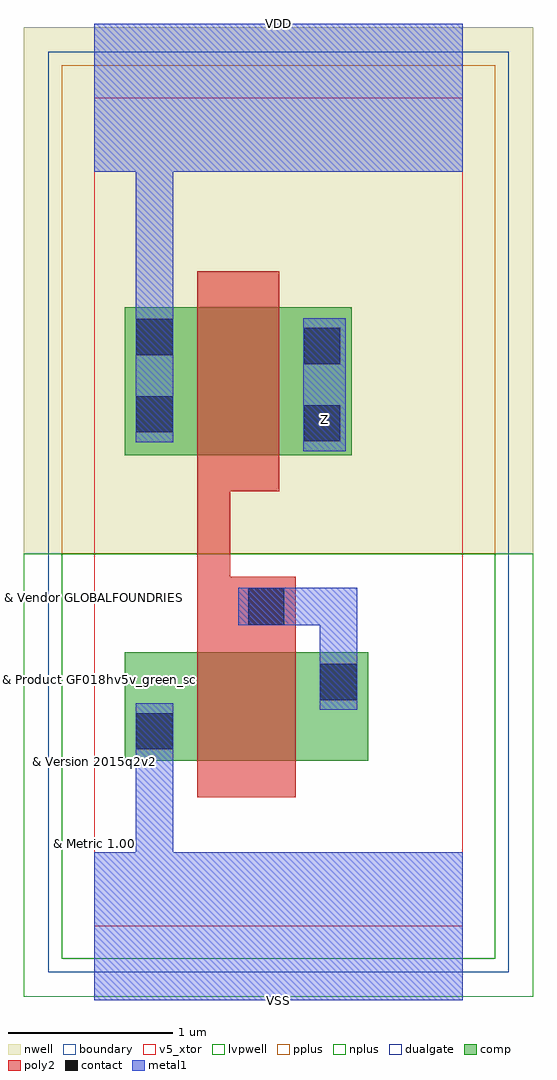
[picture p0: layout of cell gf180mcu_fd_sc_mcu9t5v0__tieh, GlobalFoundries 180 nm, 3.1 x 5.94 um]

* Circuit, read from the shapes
.subckt gf180mcu_fd_sc_mcu9t5v0__tieh VDD VSS Z
XM1 n1 n1 VSS VSUBS nfet_05v0 w=0.66u l=0.6u
XM2 Z n1 VDD n2 pfet_05v0 w=0.9u l=0.5u
.ends

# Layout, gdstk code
import gdstk
lib = gdstk.Library(unit=1e-6, precision=1e-09)
def R(c, l, rs):  # rectangles x0, y0, x1, y1
    for r in rs: c.add(gdstk.rectangle(r[:2], r[2:], *l))
def P(c, l, *ps):  # polygons
    for p in ps: c.add(gdstk.Polygon(p, *l))
boundary = (0, 0)
nwell = (21, 0)
comp = (22, 0)
poly2 = (30, 0)
pplus = (31, 0)
nplus = (32, 0)
contact = (33, 0)
metal1 = (34, 0)
dualgate = (55, 0)
v5_xtor = (112, 1)
lvpwell = (204, 0)

gf180mcu_fd_sc_mcu9t5v0_ = lib.new_cell('gf180mcu_fd_sc_mcu9t5v0__tieh')
R(gf180mcu_fd_sc_mcu9t5v0_, boundary, [(0,0,2.24,5.04)])
R(gf180mcu_fd_sc_mcu9t5v0_, nwell, [(-0.43,2.265,2.67,5.47)])
R(gf180mcu_fd_sc_mcu9t5v0_, comp, [(0.185,1.005,1.665,1.665), (0.185,2.865,1.565,3.765)])
P(gf180mcu_fd_sc_mcu9t5v0_, poly2, [(0.625,0.785),(0.625,3.985),(1.125,3.985),(1.125,2.645),(0.825,2.645),(0.825,2.125),(1.225,2.125),(1.225,0.785)])
R(gf180mcu_fd_sc_mcu9t5v0_, pplus, [(-0.2,2.265,2.44,5.24)])
R(gf180mcu_fd_sc_mcu9t5v0_, nplus, [(-0.2,-0.2,2.44,2.265)])
R(gf180mcu_fd_sc_mcu9t5v0_, contact, [(0.255,1.075,0.475,1.295), (1.375,1.375,1.595,1.595), (0.935,1.835,1.155,2.055), (1.275,2.95,1.495,3.17), (0.255,3.005,0.475,3.225), (1.275,3.42,1.495,3.64), (0.255,3.475,0.475,3.695)])
R(gf180mcu_fd_sc_mcu9t5v0_, metal1, [(1.27,2.89,1.53,3.7)])
P(gf180mcu_fd_sc_mcu9t5v0_, metal1, [(1.37,1.315),(1.37,1.83),(0.875,1.83),(0.875,2.06),(1.6,2.06),(1.6,1.315)],
  [(0,-0.45),(0,0.45),(0.25,0.45),(0.25,1.355),(0.48,1.355),(0.48,0.45),(2.24,0.45),(2.24,-0.45)],
  [(0.25,2.945),(0.25,4.59),(0,4.59),(0,5.49),(2.24,5.49),(2.24,4.59),(0.48,4.59),(0.48,2.945)])
R(gf180mcu_fd_sc_mcu9t5v0_, dualgate, [(-0.28,-0.28,2.52,5.32)])
R(gf180mcu_fd_sc_mcu9t5v0_, v5_xtor, [(0,0,2.24,5.04)])
R(gf180mcu_fd_sc_mcu9t5v0_, lvpwell, [(-0.43,-0.43,2.67,2.265)])
gf180mcu_fd_sc_mcu9t5v0_.add(gdstk.Label('VDD', (1.12,5.49), layer=34, texttype=10))
gf180mcu_fd_sc_mcu9t5v0_.add(gdstk.Label('VSS', (1.12,-0.45), layer=34, texttype=10))
gf180mcu_fd_sc_mcu9t5v0_.add(gdstk.Label('Z', (1.4,3.08), layer=34, texttype=10))
gf180mcu_fd_sc_mcu9t5v0_.add(gdstk.Label('& Vendor GLOBALFOUNDRIES', (0,2), layer=63, texttype=63))
gf180mcu_fd_sc_mcu9t5v0_.add(gdstk.Label('& Product GF018hv5v_green_sc9', (0,1.5), layer=63, texttype=63))
gf180mcu_fd_sc_mcu9t5v0_.add(gdstk.Label('& Version 2015q2v2', (0,1), layer=63, texttype=63))
gf180mcu_fd_sc_mcu9t5v0_.add(gdstk.Label('& Metric 1.00', (0,0.5), layer=63, texttype=63))

lib.write_gds('gf180mcu_fd_sc_mcu9t5v0__tieh.gds')
